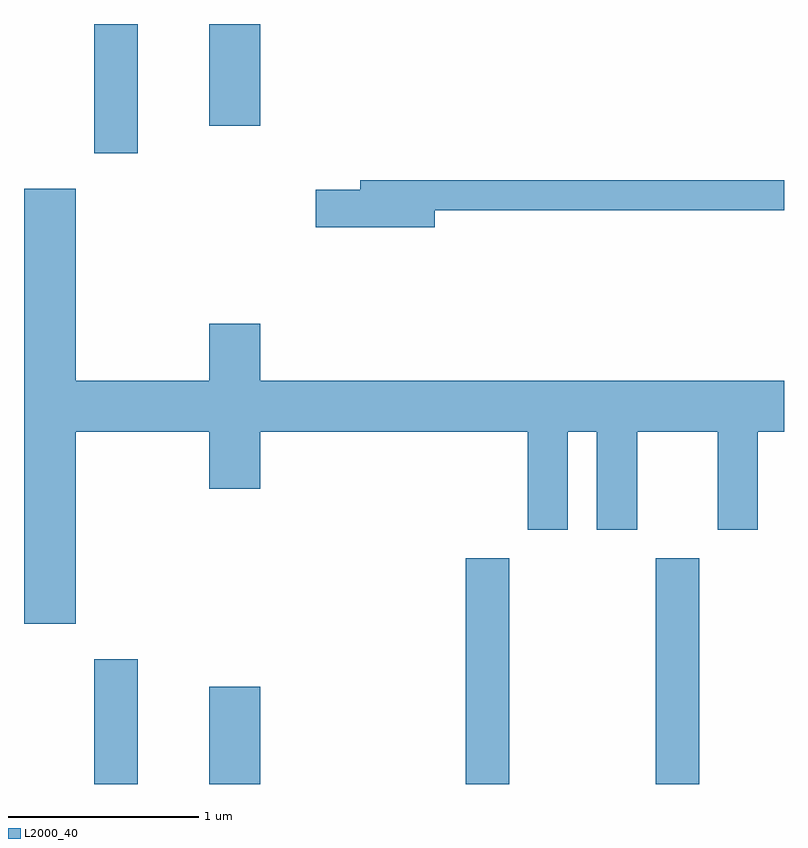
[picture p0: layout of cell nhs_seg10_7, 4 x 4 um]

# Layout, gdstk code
import gdstk
lib = gdstk.Library(unit=1e-6, precision=1e-09)
def R(c, l, rs):  # rectangles x0, y0, x1, y1
    for r in rs: c.add(gdstk.rectangle(r[:2], r[2:], *l))
def P(c, l, *ps):  # polygons
    for p in ps: c.add(gdstk.Polygon(p, *l))
L2000_40 = (2000, 40)

nhs_seg10_7 = lib.new_cell('nhs_seg10_7')
R(nhs_seg10_7, L2000_40, [(185.981,2096.522,186.209,2097.179), (186.586,2096.522,186.854,2097.034), (187.936,2096.522,188.164,2097.709), (188.936,2096.522,189.164,2097.709), (185.981,2099.841,186.209,2100.522), (186.586,2099.986,186.854,2100.522)])
P(nhs_seg10_7, L2000_40, [(187.774,2099.541),(189.611,2099.541),(189.611,2099.699),(187.381,2099.699),(187.381,2099.649),(187.146,2099.649),(187.146,2099.451),(187.774,2099.451)],
  [(185.884,2098.376),(186.586,2098.376),(186.586,2098.076),(186.854,2098.076),(186.854,2098.376),(188.261,2098.376),(188.261,2097.861),(188.474,2097.861),(188.474,2098.376),(188.626,2098.376),(188.626,2097.861),(188.839,2097.861),(188.839,2098.376),(189.261,2098.376),(189.261,2097.861),(189.474,2097.861),(189.474,2098.376),(189.611,2098.376),(189.611,2098.644),(186.854,2098.644),(186.854,2098.944),(186.586,2098.944),(186.586,2098.644),(185.884,2098.644),(185.884,2099.654),(185.611,2099.654),(185.611,2097.366),(185.884,2097.366)])

lib.write_gds('nhs_seg10_7.gds')
